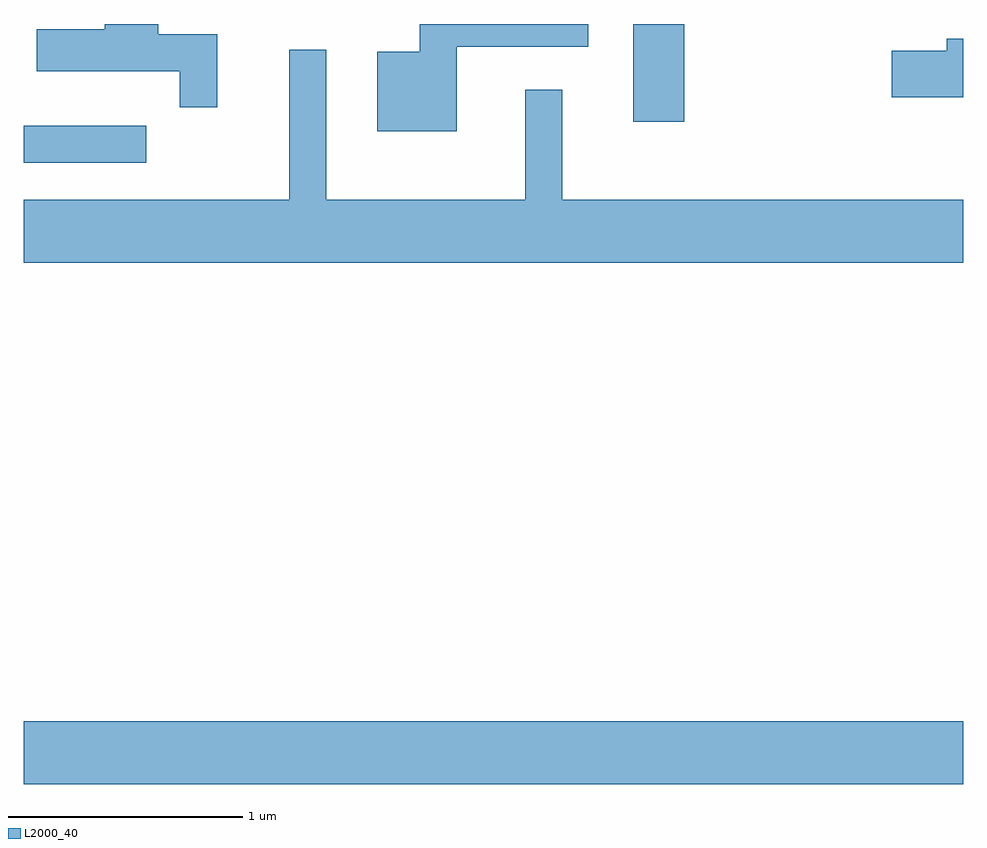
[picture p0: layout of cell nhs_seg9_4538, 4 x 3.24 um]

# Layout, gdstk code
import gdstk
lib = gdstk.Library(unit=1e-6, precision=1e-09)
def R(c, l, rs):  # rectangles x0, y0, x1, y1
    for r in rs: c.add(gdstk.rectangle(r[:2], r[2:], *l))
def P(c, l, *ps):  # polygons
    for p in ps: c.add(gdstk.Polygon(p, *l))
L2000_40 = (2000, 40)

nhs_seg9_4538 = lib.new_cell('nhs_seg9_4538')
R(nhs_seg9_4538, L2000_40, [(319.611,1945.196,323.611,1945.464), (319.611,1947.841,320.133,1947.999), (322.206,1948.016,322.424,1948.432)])
P(nhs_seg9_4538, L2000_40, [(320.434,1948.389),(320.184,1948.389),(320.184,1948.432),(319.956,1948.432),(319.956,1948.409),(319.666,1948.409),(319.666,1948.231),(320.276,1948.231),(320.276,1948.078),(320.434,1948.078)],
  [(321.454,1948.336),(322.014,1948.336),(322.014,1948.432),(321.296,1948.432),(321.296,1948.314),(321.116,1948.314),(321.116,1947.976),(321.454,1947.976)],
  [(323.611,1948.369),(323.541,1948.369),(323.541,1948.319),(323.306,1948.319),(323.306,1948.121),(323.611,1948.121)],
  [(323.611,1947.684),(321.904,1947.684),(321.904,1948.153),(321.746,1948.153),(321.746,1947.684),(320.899,1947.684),(320.899,1948.323),(320.741,1948.323),(320.741,1947.684),(319.611,1947.684),(319.611,1947.416),(323.611,1947.416)])

lib.write_gds('nhs_seg9_4538.gds')
